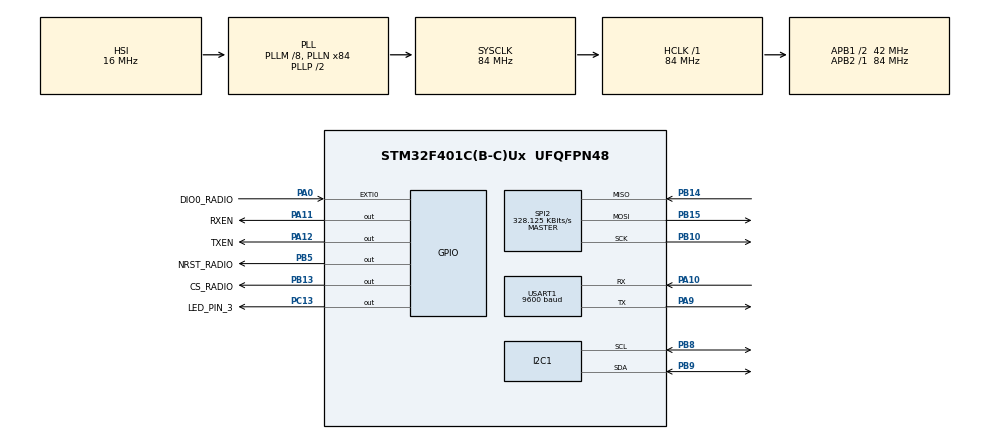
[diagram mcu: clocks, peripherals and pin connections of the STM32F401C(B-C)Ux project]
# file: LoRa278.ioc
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Mcu.Family=STM32F4
Mcu.Name=STM32F401C(B-C)Ux
Mcu.Package=UFQFPN48
NVIC.EXTI0_IRQn=true\:0\:0\:false\:false\:true\:true\:true\:true
NVIC.PriorityGroup=NVIC_PRIORITYGROUP_4
PA0-WKUP.GPIO_Label=DIO0_RADIO
PA0-WKUP.Signal=GPXTI0
PA10.Mode=Asynchronous
PA10.Signal=USART1_RX
PA11.GPIO_Label=RXEN
PA11.Signal=GPIO_Output
PA12.GPIO_Label=TXEN
PA12.Signal=GPIO_Output
PA9.Mode=Asynchronous
PA9.Signal=USART1_TX
PB10.Mode=Full_Duplex_Master
PB10.Signal=SPI2_SCK
PB13.GPIO_Label=CS_RADIO
PB13.GPIO_ModeDefaultOutputPP=GPIO_MODE_OUTPUT_PP
PB13.GPIO_PuPd=GPIO_PULLUP
PB13.PinState=GPIO_PIN_SET
PB13.Signal=GPIO_Output
PB14.Mode=Full_Duplex_Master
PB14.Signal=SPI2_MISO
PB15.Mode=Full_Duplex_Master
PB15.Signal=SPI2_MOSI
PB5.GPIO_Label=NRST_RADIO
PB5.Signal=GPIO_Output
PB8.Mode=I2C
PB8.Signal=I2C1_SCL
PB9.Mode=I2C
PB9.Signal=I2C1_SDA
PC13-ANTI_TAMP.GPIO_Label=LED_PIN_3
PC13-ANTI_TAMP.Signal=GPIO_Output
PH0\ -\ OSC_IN.Mode=HSE-External-Oscillator
PH0\ -\ OSC_IN.Signal=RCC_OSC_IN
PH1\ -\ OSC_OUT.Mode=HSE-External-Oscillator
PH1\ -\ OSC_OUT.Signal=RCC_OSC_OUT
ProjectManager.HeapSize=0x400
ProjectManager.StackSize=0x800
ProjectManager.TargetToolchain=STM32CubeIDE
RCC.48MHZClocksFreq_Value=42000000
RCC.AHBFreq_Value=84000000
RCC.APB1CLKDivider=RCC_HCLK_DIV2
RCC.APB1Freq_Value=42000000
RCC.APB1TimFreq_Value=84000000
RCC.APB2Freq_Value=84000000
RCC.APB2TimFreq_Value=84000000
RCC.CortexFreq_Value=84000000
RCC.HCLKFreq_Value=84000000
RCC.HSE_VALUE=25000000
RCC.HSI_VALUE=16000000
RCC.LSE_VALUE=32768
RCC.PLLM=8
RCC.PLLN=84
RCC.SYSCLKFreq_VALUE=84000000
RCC.SYSCLKSource=RCC_SYSCLKSOURCE_PLLCLK
RCC.VCOOutputFreq_Value=168000000
SPI2.BaudRatePrescaler=SPI_BAUDRATEPRESCALER_128
SPI2.CalculateBaudRate=328.125 KBits/s
SPI2.Direction=SPI_DIRECTION_2LINES
SPI2.Mode=SPI_MODE_MASTER
SPI2.VirtualType=VM_MASTER
USART1.BaudRate=9600
USART1.VirtualMode=VM_ASYNC
board=custom

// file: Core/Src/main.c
/* USER CODE BEGIN Header */
/**
  ******************************************************************************
  * @file           : main.c
  * @brief          : Main program body
  ******************************************************************************
  * @attention
  *
  * Copyright (c) 2026 STMicroelectronics.
  * All rights reserved.
  *
  * This software is licensed under terms that can be found in the LICENSE file
  * in the root directory of this software component.
  * If no LICENSE file comes with this software, it is provided AS-IS.
  *
  ******************************************************************************
  */
/* USER CODE END Header */
#include "main.h"
#include "i2c.h"
#include "spi.h"
#include "usart.h"
#include "gpio.h"

/* USER CODE BEGIN Includes */
#include "serial_print.h"
#include "lora278.h"
#include "hmc5883l.h"
#include "bmp280.h"
#include "mpu6050.h"
#include <stdio.h>
#include <string.h>
/* USER CODE END Includes */

/* USER CODE BEGIN PM */
#define LORA_FREQUENCY    433000000UL
#define LORA_SF           7
#define LORA_BW           125000UL
#define LORA_SYNC_WORD    0x12
/* USER CODE END PM */

/* USER CODE BEGIN PV */
extern UART_HandleTypeDef huart1;
extern I2C_HandleTypeDef hi2c1;
static uint32_t last_tx_tick = 0;
static char tx_buf[200];
HMC5883L_Data_t mag_data;
BMP280_t sensor;
/* USER CODE END PV */

void SystemClock_Config(void);

/* USER CODE BEGIN 0 */
volatile bool _packetReady = false;
volatile int _pendingLength = 0;
void OnLoRaPacketReceived(int packetSize) {
    _pendingLength = packetSize;
    _packetReady = true;  // 👈 Только флаг, без чтения!
}
void I2C_Scan(I2C_HandleTypeDef *hi2c, UART_HandleTypeDef *huart) {
    char buf[64];
    HAL_UART_Transmit(huart, (uint8_t*)"\r\n--- I2C BUS SCAN ---\r\n", 21, 100);

    for (uint8_t addr = 0x01; addr < 0x7F; addr++) {
        // HAL_I2C_IsDeviceReady принимает 8-битный адрес (addr << 1)
        if (HAL_I2C_IsDeviceReady(hi2c, addr << 1, 3, 50) == HAL_OK) {
            snprintf(buf, sizeof(buf), "[OK] 7-bit: 0x%02X | 8-bit: 0x%02X\r\n", addr, addr << 1);
            HAL_UART_Transmit(huart, (uint8_t*)buf, strlen(buf), 100);
        }
    }
    HAL_UART_Transmit(huart, (uint8_t*)"--- SCAN END ---\r\n", 17, 100);
}
/* USER CODE END 0 */

int main(void)
{

  /* MCU Configuration--------------------------------------------------------*/

  /* Reset of all peripherals, Initializes the Flash interface and the Systick. */
  HAL_Init();

  /* Configure the system clock */
  SystemClock_Config();

  /* Initialize all configured peripherals */
  MX_GPIO_Init();
  MX_SPI2_Init();
  MX_USART1_UART_Init();
  MX_I2C1_Init();
  /* USER CODE BEGIN 2 */
  HAL_Delay(100);

  // 1. Проверяем состояние SPI
  Serial_Printf(&huart1, "SPI State: 0x%02X\r\n", HAL_SPI_GetState(&hspi2));
  // Должно быть 0x20 (HAL_SPI_STATE_READY). Если 0x00 → MX_SPI2_Init() не вызван.

  // 2. Прямой тест SPI без обёрток
  uint8_t tx = 0x42 & 0x7F; // REG_VERSION
  uint8_t rx = 0;
  HAL_GPIO_WritePin(GPIOB, GPIO_PIN_13, GPIO_PIN_RESET);
  HAL_StatusTypeDef s1 = HAL_SPI_Transmit(&hspi2, &tx, 1, 10);
  tx = 0x00;
  HAL_StatusTypeDef s2 = HAL_SPI_TransmitReceive(&hspi2, &tx, &rx, 1, 10);
  HAL_GPIO_WritePin(GPIOB, GPIO_PIN_13, GPIO_PIN_SET);

  Serial_Printf(&huart1, "Tx Status: %d | Rx Status: %d | Got: 0x%02X\r\n", s1, s2, rx);

  uint8_t ver = LoRa_ReadReg(REG_VERSION);
  while(ver!=0x12){
	  ver = LoRa_ReadReg(REG_VERSION);
	  Serial_Printf(&huart1, "LoRa Version: 0x%02X\r\n", ver);
	  HAL_Delay(100);
	  break;
  }

  // 🚀 Инициализация радио
  if (!LoRa_Begin(433000000)) {
	  Serial_Printf(&huart1, "❌ LoRa init failed! Check wiring & SPI speed.\r\n");
	  Error_Handler();
  }

  // ⚙️ Параметры (точно как в твоём Arduino скетче)
  LoRa_SetSpreadingFactor(7);
  LoRa_SetSignalBandwidth(125000);
  LoRa_SetCodingRate4(5);
  LoRa_EnableCrc();
  LoRa_SetSyncWord(0x12);
  LoRa_SetTxPower(17, 1); // 17 dBm, PA_BOOST

  Serial_Printf(&huart1, "📡 Ready. Sending every 2s...\r\n");
  LoRa_WriteReg(REG_OP_MODE, MODE_LONG_RANGE_MODE | MODE_RX_CONTINUOUS);
  if (HMC5883L_Init(&hi2c1) != HAL_OK) {
	  // Ошибка: датчик не отвечает или неверный ID
	  Error_Handler();
  }
  I2C_Scan(&hi2c1, &huart1);
  sensor.hi2c = &hi2c1;
  Serial_Printf(&huart1, "Init sensor... ");
  if (BMP280_Init(&sensor) == HAL_OK) {
      Serial_Printf(&huart1, "OK (chip: %s)\r\n", sensor.chip_id == 0x60 ? "BME280" : "BMP280");
  } else {
      Serial_Printf(&huart1, "FAIL\r\n");
      Error_Handler();
  }

  if (MPU6050_Init(&hi2c1) != HAL_OK) {
	  // Ошибка инициализации: проверьте подключение, подтяжки, адрес
	  Error_Handler();
  }

  /* USER CODE END 2 */

  /* Infinite loop */
  /* USER CODE BEGIN WHILE */
  char uart_buf[70];
  MPU6050_Raw_t raw;
  MPU6050_Physical_t phys;
  while (1) {
	  /*if (_packetReady) {
		  _packetReady = false;
		  printf("📦 Пакет %d байт: ", _pendingLength);
		  while (LoRa_Available()) {
			  printf("%c", (char)LoRa_Read());
		  }
		  printf("\r\n");
	  }
	  HAL_Delay(10);*/
	  char buf[128];
	  if (MPU6050_ReadRaw(&hi2c1, &raw) == HAL_OK) {
		  MPU6050_ToPhysical(&raw, &phys);

		  // Вывод через UART (или используйте свою функцию логирования)

		  snprintf(buf, sizeof(buf),
				   "Accel: X=%.3f Y=%.3f Z=%.3f | Gyro: X=%.2f Y=%.2f Z=%.2f | T=%.1f°C\r\n",
				   phys.Accel_X, phys.Accel_Y, phys.Accel_Z,
				   phys.Gyro_X, phys.Gyro_Y, phys.Gyro_Z,
				   phys.Temp_C);
		  HAL_UART_Transmit(&huart1, (uint8_t*)buf, strlen(buf), HAL_MAX_DELAY);
	  }
	  float t, p, h;
	  if (BMP280_GetData(&sensor, &t, &p, &h) == HAL_OK) {
		  Serial_Printf(&huart1, "T: %.2f C | P: %.2f Pa", t, p);
		  if (sensor.chip_id == 0x60 && h >= 0) {
			  Serial_Printf(&huart1, " | H: %.2f %%", h);
		  }
		  Serial_Printf(&huart1, "\r\n");
	  }

	  HAL_StatusTypeDef status = HMC5883L_ReadData(&hi2c1, &mag_data);

	  if (status == HAL_OK) {
		  // Преобразование в микроТеслы (для gain ±1.3G: 1 LSB = 0.92 µT)
		  float x_uT = mag_data.x * 0.92f;
		  float y_uT = mag_data.y * 0.92f;
		  float z_uT = mag_data.z * 0.92f;

		  snprintf(uart_buf, sizeof(uart_buf), "X: %+5d (%.2f uT) | Y: %+5d (%.2f uT) | Z: %+5d (%.2f uT)\r\n",
				   mag_data.x, x_uT, mag_data.y, y_uT, mag_data.z, z_uT);
		  HAL_UART_Transmit(&huart1, (uint8_t*)uart_buf, strlen(uart_buf), HAL_MAX_DELAY);
	  } else if (status == HAL_BUSY) {
		  // Данные ещё не готовы (нормально при частоте опроса > 15 Гц)
	  } else {
		  // I2C ошибка
	  }
	  if (HAL_GetTick() - last_tx_tick >= 2000) {
		  last_tx_tick = HAL_GetTick();
		  snprintf(tx_buf, sizeof(tx_buf), "T: %.2f C | P: %.2f Pa | H: %.2f %%\r\n%s%s\r\n", t, p, h, uart_buf, buf);

		  Serial_Printf(&huart1, "TX: %s\r\n", tx_buf);

		  LoRa_BeginPacket(false);                     // Explicit header
		  LoRa_Write((uint8_t*)tx_buf, strlen(tx_buf)); // Загрузка в FIFO
		  int status = LoRa_EndPacket(false);          // Переключение в Tx и ожидание

		  if (status > 0)
			  Serial_Printf(&huart1, "✅ Sent OK\r\n");
		  else
			  Serial_Printf(&huart1, "❌ TX Error / Timeout\r\n");
	  }
	  HAL_Delay(2000);
    /* USER CODE END WHILE */

  }
}

void SystemClock_Config(void)
{
  RCC_OscInitTypeDef RCC_OscInitStruct = {0};
  RCC_ClkInitTypeDef RCC_ClkInitStruct = {0};

  /** Configure the main internal regulator output voltage
  */
  __HAL_RCC_PWR_CLK_ENABLE();
  __HAL_PWR_VOLTAGESCALING_CONFIG(PWR_REGULATOR_VOLTAGE_SCALE2);

  /** Initializes the RCC Oscillators according to the specified parameters
  * in the RCC_OscInitTypeDef structure.
  */
  RCC_OscInitStruct.OscillatorType = RCC_OSCILLATORTYPE_HSI;
  RCC_OscInitStruct.HSIState = RCC_HSI_ON;
  RCC_OscInitStruct.HSICalibrationValue = RCC_HSICALIBRATION_DEFAULT;
  RCC_OscInitStruct.PLL.PLLState = RCC_PLL_ON;
  RCC_OscInitStruct.PLL.PLLSource = RCC_PLLSOURCE_HSI;
  RCC_OscInitStruct.PLL.PLLM = 8;
  RCC_OscInitStruct.PLL.PLLN = 84;
  RCC_OscInitStruct.PLL.PLLP = RCC_PLLP_DIV2;
  RCC_OscInitStruct.PLL.PLLQ = 4;
  if (HAL_RCC_OscConfig(&RCC_OscInitStruct) != HAL_OK)
  {
    Error_Handler();
  }

  /** Initializes the CPU, AHB and APB buses clocks
  */
  RCC_ClkInitStruct.ClockType = RCC_CLOCKTYPE_HCLK|RCC_CLOCKTYPE_SYSCLK
                              |RCC_CLOCKTYPE_PCLK1|RCC_CLOCKTYPE_PCLK2;
  RCC_ClkInitStruct.SYSCLKSource = RCC_SYSCLKSOURCE_PLLCLK;
  RCC_ClkInitStruct.AHBCLKDivider = RCC_SYSCLK_DIV1;
  RCC_ClkInitStruct.APB1CLKDivider = RCC_HCLK_DIV2;
  RCC_ClkInitStruct.APB2CLKDivider = RCC_HCLK_DIV1;

  if (HAL_RCC_ClockConfig(&RCC_ClkInitStruct, FLASH_LATENCY_2) != HAL_OK)
  {
    Error_Handler();
  }
}

/* USER CODE BEGIN 4 */
void HAL_GPIO_EXTI_Callback(uint16_t GPIO_Pin) {
    if (GPIO_Pin == LORA_DIO0_PIN) {
        LoRa_HandleDio0Rise();  // 👈 Обработка приёма
    }
}
/* USER CODE END 4 */

void Error_Handler(void)
{
  __disable_irq();
  while (1)
  {
  }
}
